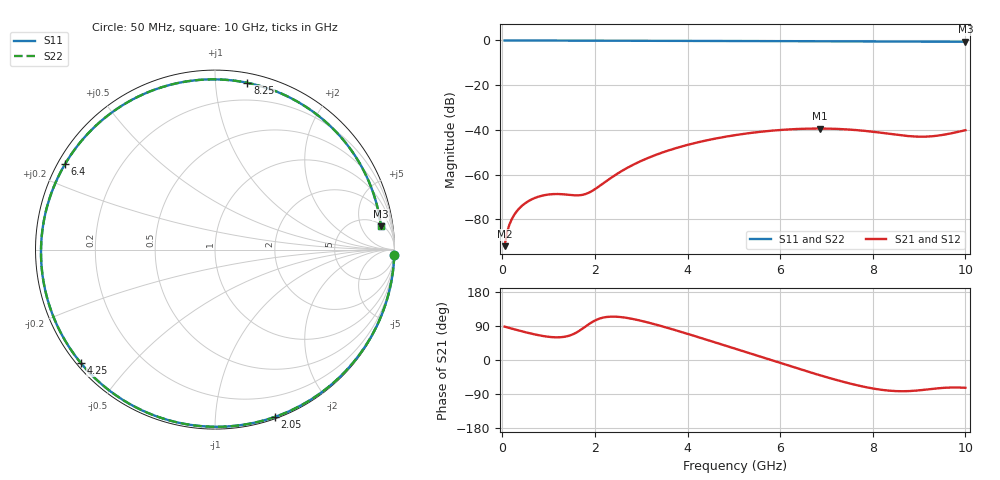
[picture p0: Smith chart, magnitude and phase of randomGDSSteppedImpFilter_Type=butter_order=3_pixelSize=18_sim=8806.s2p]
! freq	dB(S11)	phase(S11)	dB(S12)	phase(S12)
!  dB(S21)	phase(S21)	dB(S22)	phase(S22)
!S-par simulation data
#  GHz  S  DB  R 50
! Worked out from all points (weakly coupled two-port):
!   200 points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, 50 MHz to 10 GHz, reference 50 ohm
!   highest |S21| = -39.37 dB at 6.85 GHz (marker M1); lowest = -91.9 dB at 50 MHz (marker M2)
!   lowest |S11| = -0.6 dB at 10 GHz (marker M3), VSWR 29.16, Z = 281 + j573 ohm
!   |S11| at or under -10 dB: nowhere
!   |S22| runs from -0.6 to 0.0 dB; largest |S21 - S12| = 0
!   S11 on the Smith chart (normalised r, x): 50 MHz: 2, -64; 2.05 GHz: 0.02, -1.42; 4.25 GHz: 0.01, -0.37; 6.4 GHz: 0.02, +0.27; 8.25 GHz: 0.07, +1.21; 10 GHz: 6, +11
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0.05  -0.01 -1.8  -91.95 88.1  -91.95 88.1  -0.01 -1.8
0.2  -0.01 -7.1  -80.06 83.0  -80.06 83.0  -0.01 -7.1
0.3  -0.01 -10.6  -76.68 79.7  -76.68 79.7  -0.01 -10.6
0.45  -0.02 -15.9  -73.46 74.9  -73.46 74.9  -0.02 -15.9
0.8  -0.03 -28.1  -69.70 65.1  -69.70 65.1  -0.03 -28.1
1.1  -0.05 -38.4  -68.67 60.1  -68.67 60.1  -0.05 -38.4
1.75  -0.08 -60.4  -68.92 84.3  -68.92 84.3  -0.08 -60.4
2.05  -0.09 -70.3  -65.79 106.9  -65.79 106.9  -0.09 -70.3
2.7  -0.11 -91.4  -56.94 110.9  -56.94 110.9  -0.11 -91.4
3.4  -0.14 -113.4  -50.50 90.7  -50.50 90.7  -0.14 -113.4
4.25  -0.19 -139.8  -45.41 59.7  -45.41 59.7  -0.19 -139.8
5.05  -0.24 -164.8  -42.25 28.9  -42.25 28.9  -0.24 -164.8
5.75  -0.29 172.4  -40.46 1.8  -40.46 1.8  -0.29 172.4
6.4  -0.34 150.2  -39.55 -23.2  -39.55 -23.2  -0.34 150.1
6.7  -0.36 139.4  -39.39 -34.4  -39.39 -34.4  -0.36 139.4
6.85  -0.38 133.9  -39.37 -39.9  -39.37 -39.9  -0.38 133.9
7.6  -0.43 105.3  -39.99 -64.9  -39.99 -64.9  -0.43 105.2
8.25  -0.48 79.0  -41.45 -79.6  -41.45 -79.6  -0.48 79.0
8.35  -0.48 74.9  -41.72 -80.9  -41.72 -80.9  -0.48 74.9
8.8  -0.51 56.3  -42.79 -81.9  -42.79 -81.9  -0.51 56.2
9.25  -0.54 37.8  -42.87 -76.7  -42.87 -76.7  -0.54 37.7
10  -0.60 8.1  -40.12 -73.4  -40.12 -73.4  -0.60 8.0
